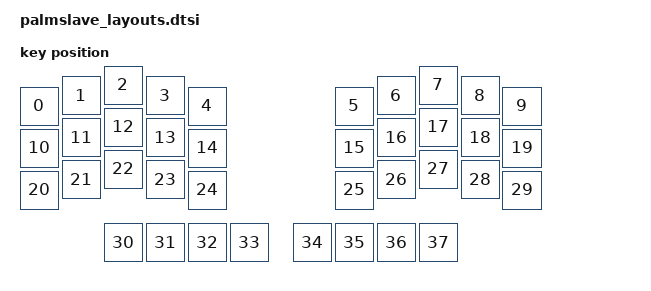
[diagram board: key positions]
#include <physical_layouts.dtsi>

#include <physical_layouts.dtsi>

/ {
    physical_layout0: physical_layout_0 {
        compatible = "zmk,physical-layout";
        display-name = "LAYOUT";

        kscan = <&kscan0>;
        transform = <&matrix_transform0>;

        keys  //                     w   h    x    y     rot    rx    ry
            = <&key_physical_attrs  84  84    0   42       0     0     0>
            , <&key_physical_attrs  84  84   84   21       0     0     0>
            , <&key_physical_attrs  84  84  168    0       0     0     0>
            , <&key_physical_attrs  84  84  252   21       0     0     0>
            , <&key_physical_attrs  84  84  336   42       0     0     0>
            , <&key_physical_attrs  84  84  630   42       0     0     0>
            , <&key_physical_attrs  84  84  714   21       0     0     0>
            , <&key_physical_attrs  84  84  798    0       0     0     0>
            , <&key_physical_attrs  84  84  882   21       0     0     0>
            , <&key_physical_attrs  84  84  966   42       0     0     0>
            , <&key_physical_attrs  84  84    0  126       0     0     0>
            , <&key_physical_attrs  84  84   84  105       0     0     0>
            , <&key_physical_attrs  84  84  168   84       0     0     0>
            , <&key_physical_attrs  84  84  252  105       0     0     0>
            , <&key_physical_attrs  84  84  336  126       0     0     0>
            , <&key_physical_attrs  84  84  630  126       0     0     0>
            , <&key_physical_attrs  84  84  714  105       0     0     0>
            , <&key_physical_attrs  84  84  798   84       0     0     0>
            , <&key_physical_attrs  84  84  882  105       0     0     0>
            , <&key_physical_attrs  84  84  966  126       0     0     0>
            , <&key_physical_attrs  84  84    0  210       0     0     0>
            , <&key_physical_attrs  84  84   84  189       0     0     0>
            , <&key_physical_attrs  84  84  168  168       0     0     0>
            , <&key_physical_attrs  84  84  252  189       0     0     0>
            , <&key_physical_attrs  84  84  336  210       0     0     0>
            , <&key_physical_attrs  84  84  630  210       0     0     0>
            , <&key_physical_attrs  84  84  714  189       0     0     0>
            , <&key_physical_attrs  84  84  798  168       0     0     0>
            , <&key_physical_attrs  84  84  882  189       0     0     0>
            , <&key_physical_attrs  84  84  966  210       0     0     0>
            , <&key_physical_attrs  84  84  168  315       0     0     0>
            , <&key_physical_attrs  84  84  252  315       0     0     0>
            , <&key_physical_attrs  84  84  336  315       0     0     0>
            , <&key_physical_attrs  84  84  420  315       0     0     0>
            , <&key_physical_attrs  84  84  546  315       0     0     0>
            , <&key_physical_attrs  84  84  630  315       0     0     0>
            , <&key_physical_attrs  84  84  714  315       0     0     0>
            , <&key_physical_attrs  84  84  798  315       0     0     0>
            ;
    };
};

/*
/ {
    physical_layout0: physical_layout_0 {
        keys  //                     w   h    x    y     rot    rx    ry
            = <&key_physical_attrs 100 100    0   42       0     0     0>
            , <&key_physical_attrs 100 100   84   21       0     0     0>
            , <&key_physical_attrs 100 100  168    0       0     0     0>
            , <&key_physical_attrs 100 100  252   21       0     0     0>
            , <&key_physical_attrs 100 100  336   42       0     0     0>
            , <&key_physical_attrs 100 100  630   42       0     0     0>
            , <&key_physical_attrs 100 100  714   21       0     0     0>
            , <&key_physical_attrs 100 100  798    0       0     0     0>
            , <&key_physical_attrs 100 100  882   21       0     0     0>
            , <&key_physical_attrs 100 100  966   42       0     0     0>
            , <&key_physical_attrs 100 100    0  126       0     0     0>
            , <&key_physical_attrs 100 100   84  105       0     0     0>
            , <&key_physical_attrs 100 100  168   84       0     0     0>
            , <&key_physical_attrs 100 100  252  105       0     0     0>
            , <&key_physical_attrs 100 100  336  126       0     0     0>
            , <&key_physical_attrs 100 100  630  126       0     0     0>
            , <&key_physical_attrs 100 100  714  105       0     0     0>
            , <&key_physical_attrs 100 100  798   84       0     0     0>
            , <&key_physical_attrs 100 100  882  105       0     0     0>
            , <&key_physical_attrs 100 100  966  126       0     0     0>
            , <&key_physical_attrs 100 100    0  210       0     0     0>
            , <&key_physical_attrs 100 100   84  189       0     0     0>
            , <&key_physical_attrs 100 100  168  168       0     0     0>
            , <&key_physical_attrs 100 100  252  189       0     0     0>
            , <&key_physical_attrs 100 100  336  210       0     0     0>
            , <&key_physical_attrs 100 100  630  210       0     0     0>
            , <&key_physical_attrs 100 100  714  189       0     0     0>
            , <&key_physical_attrs 100 100  798  168       0     0     0>
            , <&key_physical_attrs 100 100  882  189       0     0     0>
            , <&key_physical_attrs 100 100  966  210       0     0     0>
            , <&key_physical_attrs 100 100  168  315       0     0     0>
            , <&key_physical_attrs 100 100  252  315       0     0     0>
            , <&key_physical_attrs 100 100  336  315       0     0     0>
            , <&key_physical_attrs 100 100  420  315       0     0     0>
            , <&key_physical_attrs 100 100  546  315       0     0     0>
            , <&key_physical_attrs 100 100  630  315       0     0     0>
            , <&key_physical_attrs 100 100  714  315       0     0     0>
            , <&key_physical_attrs 100 100  798  315       0     0     0>
            ;
    };
};
*/
